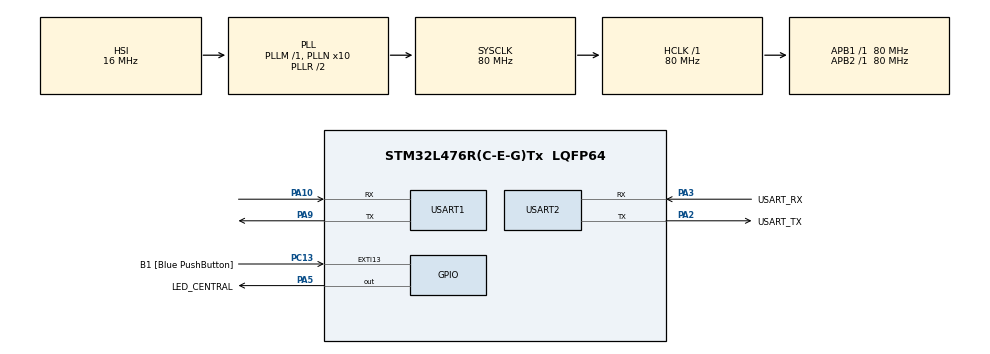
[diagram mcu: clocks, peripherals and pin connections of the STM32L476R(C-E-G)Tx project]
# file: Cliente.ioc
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Dma.Request0=USART2_TX
Dma.Request1=USART1_RX
Dma.USART1_RX.1.Direction=DMA_PERIPH_TO_MEMORY
Dma.USART1_RX.1.Instance=DMA1_Channel5
Dma.USART1_RX.1.MemDataAlignment=DMA_MDATAALIGN_BYTE
Dma.USART1_RX.1.MemInc=DMA_MINC_ENABLE
Dma.USART1_RX.1.Mode=DMA_NORMAL
Dma.USART1_RX.1.PeriphDataAlignment=DMA_PDATAALIGN_BYTE
Dma.USART1_RX.1.PeriphInc=DMA_PINC_DISABLE
Dma.USART1_RX.1.Priority=DMA_PRIORITY_LOW
Dma.USART2_TX.0.Direction=DMA_MEMORY_TO_PERIPH
Dma.USART2_TX.0.Instance=DMA1_Channel7
Dma.USART2_TX.0.MemDataAlignment=DMA_MDATAALIGN_BYTE
Dma.USART2_TX.0.MemInc=DMA_MINC_ENABLE
Dma.USART2_TX.0.Mode=DMA_NORMAL
Dma.USART2_TX.0.PeriphDataAlignment=DMA_PDATAALIGN_BYTE
Dma.USART2_TX.0.PeriphInc=DMA_PINC_DISABLE
Dma.USART2_TX.0.Priority=DMA_PRIORITY_LOW
Mcu.Family=STM32L4
Mcu.Name=STM32L476R(C-E-G)Tx
Mcu.Package=LQFP64
NVIC.DMA1_Channel5_IRQn=true\:0\:0\:false\:false\:true\:false\:true\:true
NVIC.DMA1_Channel7_IRQn=true\:0\:0\:false\:false\:true\:false\:true\:true
NVIC.EXTI15_10_IRQn=true\:0\:0\:false\:false\:true\:true\:true\:true
NVIC.PriorityGroup=NVIC_PRIORITYGROUP_4
NVIC.USART1_IRQn=true\:0\:0\:false\:false\:true\:true\:true\:true
NVIC.USART2_IRQn=true\:0\:0\:false\:false\:true\:true\:true\:true
PA10.Mode=Asynchronous
PA10.Signal=USART1_RX
PA13\ (JTMS-SWDIO).GPIO_Label=TMS
PA13\ (JTMS-SWDIO).Signal=SYS_JTMS-SWDIO
PA14\ (JTCK-SWCLK).GPIO_Label=TCK
PA14\ (JTCK-SWCLK).Signal=SYS_JTCK-SWCLK
PA2.GPIO_Label=USART_TX
PA2.GPIO_Mode=GPIO_MODE_AF_PP
PA2.GPIO_PuPd=GPIO_NOPULL
PA2.GPIO_Speed=GPIO_SPEED_FREQ_VERY_HIGH
PA2.Mode=Asynchronous
PA2.Signal=USART2_TX
PA3.GPIO_Label=USART_RX
PA3.GPIO_Mode=GPIO_MODE_AF_PP
PA3.GPIO_PuPd=GPIO_NOPULL
PA3.GPIO_Speed=GPIO_SPEED_FREQ_VERY_HIGH
PA3.Mode=Asynchronous
PA3.Signal=USART2_RX
PA5.GPIO_Label=LED_CENTRAL
PA5.Signal=GPIO_Output
PA9.Mode=Asynchronous
PA9.Signal=USART1_TX
PB3\ (JTDO-TRACESWO).GPIO_Label=SWO
PB3\ (JTDO-TRACESWO).Signal=SYS_JTDO-SWO
PC13.GPIO_Label=B1 [Blue PushButton]
PC13.GPIO_ModeDefaultEXTI=GPIO_MODE_IT_FALLING
PC13.GPIO_PuPd=GPIO_PULLUP
PC13.Signal=GPXTI13
PC14-OSC32_IN\ (PC14).Signal=RCC_OSC32_IN
PC15-OSC32_OUT\ (PC15).Signal=RCC_OSC32_OUT
PH0-OSC_IN\ (PH0).Signal=RCC_OSC_IN
PH1-OSC_OUT\ (PH1).Signal=RCC_OSC_OUT
ProjectManager.HeapSize=0x200
ProjectManager.StackSize=0x400
ProjectManager.TargetToolchain=STM32CubeIDE
RCC.ADCFreq_Value=64000000
RCC.AHBFreq_Value=80000000
RCC.APB1Freq_Value=80000000
RCC.APB1TimFreq_Value=80000000
RCC.APB2Freq_Value=80000000
RCC.APB2TimFreq_Value=80000000
RCC.CortexFreq_Value=80000000
RCC.HCLKFreq_Value=80000000
RCC.HSE_VALUE=8000000
RCC.HSI_VALUE=16000000
RCC.LSE_VALUE=32768
RCC.MSI_VALUE=4000000
RCC.PLLN=10
RCC.PLLSourceVirtual=RCC_PLLSOURCE_HSI
RCC.PREFETCH_ENABLE=1
RCC.SYSCLKFreq_VALUE=80000000
RCC.SYSCLKSource=RCC_SYSCLKSOURCE_PLLCLK
RCC.USBFreq_Value=64000000
RCC.VCOOutputFreq_Value=160000000
USART1.VirtualMode-Asynchronous=VM_ASYNC
USART2.VirtualMode-Asynchronous=VM_ASYNC
board=NUCLEO-L476RG

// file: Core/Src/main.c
/* USER CODE BEGIN Header */
/**
  ******************************************************************************
  * @file           : main.c
  * @brief          : Main program body
  ******************************************************************************
  * @attention
  *
  * Copyright (c) 2026 STMicroelectronics.
  * All rights reserved.
  *
  * This software is licensed under terms that can be found in the LICENSE file
  * in the root directory of this software component.
  * If no LICENSE file comes with this software, it is provided AS-IS.
  *
  ******************************************************************************
  */
/* USER CODE END Header */
#include "main.h"

/* USER CODE BEGIN Includes */
#include <stdio.h>
#include <string.h>
/* USER CODE END Includes */

/* USER CODE BEGIN PTD */
typedef enum {
  CLIENTE_IDLE,              // esperando o clique do operador
  CLIENTE_AGUARDA_CONTADOR,  // comando enviado, esperando 1 byte (contador)
  CLIENTE_AGUARDA_TABELA,    // contador recebido, esperando 100 bytes (tabela) por DMA
  CLIENTE_PISCANDO,          // LED piscando a 1 Hz, uma vez por basculada
  CLIENTE_ENVIA_RELATORIO,   // mandar o relatorio ao PC
  CLIENTE_ENVIA_TABELA       // relatorio enviado, falta mandar a tabela ao PC
} EstadoCliente;
/* USER CODE END PTD */

/* USER CODE BEGIN PD */
#define CMD_COLETA                 0x5A   // comando combinado com a estacao de campo
#define TABELA_TAM                 100    // tamanho fixo da tabela (igual no servidor)
#define CHUVA_POR_BASCULADA_CENT   25     // 0,25 mm = 25 centesimos de mm
#define LIMITE_CHUVA_CENT          200    // 2,00 mm: a partir daqui suspende a irrigacao
#define MEIO_PERIODO_MS            500    // 1 Hz = 500 ms ligado + 500 ms desligado
#define TIMEOUT_COLETA_MS          2000   // se a estacao nao responder em 2 s, desiste
/* USER CODE END PD */

UART_HandleTypeDef huart1;
UART_HandleTypeDef huart2;
DMA_HandleTypeDef hdma_usart1_rx;
DMA_HandleTypeDef hdma_usart2_tx;

/* USER CODE BEGIN PV */
volatile EstadoCliente estado_cliente = CLIENTE_IDLE;

uint8_t  comando_tx = CMD_COLETA;
volatile uint8_t contador_recebido = 0;        // basculadas enviadas pela estacao
uint8_t  tabela_recebida[TABELA_TAM];          // tabela de talhoes recebida por DMA

volatile uint8_t liberado_para_coletar = 1;    // 0 enquanto uma coleta esta em andamento
volatile uint32_t tempo_inicio_coleta = 0;

uint16_t piscadas_feitas = 0;
uint32_t tempo_ultimo_toggle = 0;
uint8_t  led_ligado = 0;

char msg_relatorio[96];
/* USER CODE END PV */

void SystemClock_Config(void);
static void MX_GPIO_Init(void);
static void MX_DMA_Init(void);
static void MX_USART2_UART_Init(void);
static void MX_USART1_UART_Init(void);

/* USER CODE BEGIN 0 */
/* Interrupcao externa: o operador pediu uma coleta (botao B1) */
void HAL_GPIO_EXTI_Callback(uint16_t GPIO_Pin)
{
  if (GPIO_Pin == GPIO_PIN_13 && liberado_para_coletar)
  {
    liberado_para_coletar = 0;                       // bloqueia novos cliques
    tempo_inicio_coleta = HAL_GetTick();
    estado_cliente = CLIENTE_AGUARDA_CONTADOR;
    HAL_UART_Receive_IT(&huart1, (uint8_t *)&contador_recebido, 1);  // prepara para ouvir a resposta
    HAL_UART_Transmit_IT(&huart1, &comando_tx, 1);                   // envia 0x5A para a estacao
  }
}

/* Terminou uma RECEPCAO na USART1 (por interrupcao ou por DMA) */
void HAL_UART_RxCpltCallback(UART_HandleTypeDef *huart)
{
  if (huart->Instance == USART1)
  {
    if (estado_cliente == CLIENTE_AGUARDA_CONTADOR)
    {
      // chegou o byte do contador; agora espera os 100 bytes da tabela por DMA
      estado_cliente = CLIENTE_AGUARDA_TABELA;
      HAL_UART_Receive_DMA(&huart1, tabela_recebida, TABELA_TAM);
    }
    else if (estado_cliente == CLIENTE_AGUARDA_TABELA)
    {
      // tabela completa: comeca a piscar o LED
      piscadas_feitas = 0;
      led_ligado = 0;
      tempo_ultimo_toggle = HAL_GetTick();
      estado_cliente = CLIENTE_PISCANDO;
    }
  }
}

/* Terminou uma TRANSMISSAO na USART2 (para o PC) */
void HAL_UART_TxCpltCallback(UART_HandleTypeDef *huart)
{
  if (huart->Instance == USART2 && estado_cliente == CLIENTE_ENVIA_TABELA)
  {
    // o relatorio ja saiu; agora envia a tabela por DMA
    HAL_UART_Transmit_DMA(&huart2, tabela_recebida, TABELA_TAM);
    estado_cliente = CLIENTE_IDLE;
    liberado_para_coletar = 1;                       // libera para a proxima coleta
  }
}
/* USER CODE END 0 */

int main(void)
{

  /* MCU Configuration--------------------------------------------------------*/

  /* Reset of all peripherals, Initializes the Flash interface and the Systick. */
  HAL_Init();

  /* Configure the system clock */
  SystemClock_Config();

  /* Initialize all configured peripherals */
  MX_GPIO_Init();
  MX_DMA_Init();
  MX_USART2_UART_Init();
  MX_USART1_UART_Init();
  /* USER CODE BEGIN 2 */
  /* Mensagem inicial por POLLING: HAL_UART_Transmit espera terminar */
  const char banner[] =
    "\r\n=== Central de Irrigacao (NUCLEO-L476RG) ===\r\n"
    "Aperte o botao azul para coletar a chuva da estacao de campo.\r\n";
  HAL_UART_Transmit(&huart2, (uint8_t *)banner, sizeof(banner) - 1, 200);
  /* USER CODE END 2 */

  /* Infinite loop */
  while (1)
  {

    /* USER CODE BEGIN 3 */
	  /* ---- 1) LED piscando a 1 Hz, uma piscada por basculada (sem HAL_Delay) ---- */
	  if (estado_cliente == CLIENTE_PISCANDO)
	  {
	    if (contador_recebido == 0)
	    {
	      estado_cliente = CLIENTE_ENVIA_RELATORIO;        // nao choveu: nada a piscar
	    }
	    else if ((HAL_GetTick() - tempo_ultimo_toggle) >= MEIO_PERIODO_MS)
	    {
	      tempo_ultimo_toggle = HAL_GetTick();
	      HAL_GPIO_TogglePin(GPIOA, GPIO_PIN_5);
	      led_ligado = !led_ligado;

	      if (led_ligado == 0)                             // completou um ciclo: ligou e desligou
	      {
	        piscadas_feitas++;
	        if (piscadas_feitas >= contador_recebido)
	        {
	          HAL_GPIO_WritePin(GPIOA, GPIO_PIN_5, GPIO_PIN_RESET);
	          estado_cliente = CLIENTE_ENVIA_RELATORIO;
	        }
	      }
	    }
	  }

	  /* ---- 2) Relatorio ao PC (USART2, por interrupcao) ---- */
	  else if (estado_cliente == CLIENTE_ENVIA_RELATORIO)
	  {
	    uint32_t chuva_cent = (uint32_t)contador_recebido * CHUVA_POR_BASCULADA_CENT;
	    snprintf(msg_relatorio, sizeof(msg_relatorio),
	             "Basculadas = %03u | Chuva = %lu.%02lu mm | Irrigacao: %s\r\n",
	             (unsigned)contador_recebido,
	             (unsigned long)(chuva_cent / 100), (unsigned long)(chuva_cent % 100),
	             (chuva_cent >= LIMITE_CHUVA_CENT) ? "SUSPENSA" : "LIBERADA");
	    estado_cliente = CLIENTE_ENVIA_TABELA;             // a tabela sai no TxCpltCallback
	    HAL_UART_Transmit_IT(&huart2, (uint8_t *)msg_relatorio, strlen(msg_relatorio));
	  }

	  /* ---- 3) Timeout: a estacao nao respondeu (fio solto, placa desligada...) ---- */
	  else if ((estado_cliente == CLIENTE_AGUARDA_CONTADOR || estado_cliente == CLIENTE_AGUARDA_TABELA)
	           && (HAL_GetTick() - tempo_inicio_coleta) > TIMEOUT_COLETA_MS)
	  {
	    HAL_UART_AbortReceive(&huart1);
	    estado_cliente = CLIENTE_IDLE;
	    liberado_para_coletar = 1;
	    static const char erro[] = "ERRO: estacao de campo nao respondeu. Confira TX/RX/GND.\r\n";
	    HAL_UART_Transmit_IT(&huart2, (uint8_t *)erro, sizeof(erro) - 1);
	  }
  }
  /* USER CODE END 3 */
}

void SystemClock_Config(void)
{
  RCC_OscInitTypeDef RCC_OscInitStruct = {0};
  RCC_ClkInitTypeDef RCC_ClkInitStruct = {0};

  /** Configure the main internal regulator output voltage
  */
  if (HAL_PWREx_ControlVoltageScaling(PWR_REGULATOR_VOLTAGE_SCALE1) != HAL_OK)
  {
    Error_Handler();
  }

  /** Initializes the RCC Oscillators according to the specified parameters
  * in the RCC_OscInitTypeDef structure.
  */
  RCC_OscInitStruct.OscillatorType = RCC_OSCILLATORTYPE_HSI;
  RCC_OscInitStruct.HSIState = RCC_HSI_ON;
  RCC_OscInitStruct.HSICalibrationValue = RCC_HSICALIBRATION_DEFAULT;
  RCC_OscInitStruct.PLL.PLLState = RCC_PLL_ON;
  RCC_OscInitStruct.PLL.PLLSource = RCC_PLLSOURCE_HSI;
  RCC_OscInitStruct.PLL.PLLM = 1;
  RCC_OscInitStruct.PLL.PLLN = 10;
  RCC_OscInitStruct.PLL.PLLP = RCC_PLLP_DIV7;
  RCC_OscInitStruct.PLL.PLLQ = RCC_PLLQ_DIV2;
  RCC_OscInitStruct.PLL.PLLR = RCC_PLLR_DIV2;
  if (HAL_RCC_OscConfig(&RCC_OscInitStruct) != HAL_OK)
  {
    Error_Handler();
  }

  /** Initializes the CPU, AHB and APB buses clocks
  */
  RCC_ClkInitStruct.ClockType = RCC_CLOCKTYPE_HCLK|RCC_CLOCKTYPE_SYSCLK
                              |RCC_CLOCKTYPE_PCLK1|RCC_CLOCKTYPE_PCLK2;
  RCC_ClkInitStruct.SYSCLKSource = RCC_SYSCLKSOURCE_PLLCLK;
  RCC_ClkInitStruct.AHBCLKDivider = RCC_SYSCLK_DIV1;
  RCC_ClkInitStruct.APB1CLKDivider = RCC_HCLK_DIV1;
  RCC_ClkInitStruct.APB2CLKDivider = RCC_HCLK_DIV1;

  if (HAL_RCC_ClockConfig(&RCC_ClkInitStruct, FLASH_LATENCY_4) != HAL_OK)
  {
    Error_Handler();
  }
}

static void MX_USART1_UART_Init(void)
{

  huart1.Instance = USART1;
  huart1.Init.BaudRate = 115200;
  huart1.Init.WordLength = UART_WORDLENGTH_8B;
  huart1.Init.StopBits = UART_STOPBITS_1;
  huart1.Init.Parity = UART_PARITY_NONE;
  huart1.Init.Mode = UART_MODE_TX_RX;
  huart1.Init.HwFlowCtl = UART_HWCONTROL_NONE;
  huart1.Init.OverSampling = UART_OVERSAMPLING_16;
  huart1.Init.OneBitSampling = UART_ONE_BIT_SAMPLE_DISABLE;
  huart1.AdvancedInit.AdvFeatureInit = UART_ADVFEATURE_NO_INIT;
  if (HAL_UART_Init(&huart1) != HAL_OK)
  {
    Error_Handler();
  }

}

static void MX_USART2_UART_Init(void)
{

  huart2.Instance = USART2;
  huart2.Init.BaudRate = 115200;
  huart2.Init.WordLength = UART_WORDLENGTH_8B;
  huart2.Init.StopBits = UART_STOPBITS_1;
  huart2.Init.Parity = UART_PARITY_NONE;
  huart2.Init.Mode = UART_MODE_TX_RX;
  huart2.Init.HwFlowCtl = UART_HWCONTROL_NONE;
  huart2.Init.OverSampling = UART_OVERSAMPLING_16;
  huart2.Init.OneBitSampling = UART_ONE_BIT_SAMPLE_DISABLE;
  huart2.AdvancedInit.AdvFeatureInit = UART_ADVFEATURE_NO_INIT;
  if (HAL_UART_Init(&huart2) != HAL_OK)
  {
    Error_Handler();
  }

}

static void MX_DMA_Init(void)
{

  /* DMA controller clock enable */
  __HAL_RCC_DMA1_CLK_ENABLE();

  /* DMA interrupt init */
  /* DMA1_Channel5_IRQn interrupt configuration */
  HAL_NVIC_SetPriority(DMA1_Channel5_IRQn, 0, 0);
  HAL_NVIC_EnableIRQ(DMA1_Channel5_IRQn);
  /* DMA1_Channel7_IRQn interrupt configuration */
  HAL_NVIC_SetPriority(DMA1_Channel7_IRQn, 0, 0);
  HAL_NVIC_EnableIRQ(DMA1_Channel7_IRQn);

}

static void MX_GPIO_Init(void)
{
  GPIO_InitTypeDef GPIO_InitStruct = {0};

  /* GPIO Ports Clock Enable */
  __HAL_RCC_GPIOC_CLK_ENABLE();
  __HAL_RCC_GPIOH_CLK_ENABLE();
  __HAL_RCC_GPIOA_CLK_ENABLE();
  __HAL_RCC_GPIOB_CLK_ENABLE();

  /*Configure GPIO pin Output Level */
  HAL_GPIO_WritePin(LED_CENTRAL_GPIO_Port, LED_CENTRAL_Pin, GPIO_PIN_RESET);

  /*Configure GPIO pin : B1_Pin */
  GPIO_InitStruct.Pin = B1_Pin;
  GPIO_InitStruct.Mode = GPIO_MODE_IT_FALLING;
  GPIO_InitStruct.Pull = GPIO_PULLUP;
  HAL_GPIO_Init(B1_GPIO_Port, &GPIO_InitStruct);

  /*Configure GPIO pin : LED_CENTRAL_Pin */
  GPIO_InitStruct.Pin = LED_CENTRAL_Pin;
  GPIO_InitStruct.Mode = GPIO_MODE_OUTPUT_PP;
  GPIO_InitStruct.Pull = GPIO_NOPULL;
  GPIO_InitStruct.Speed = GPIO_SPEED_FREQ_LOW;
  HAL_GPIO_Init(LED_CENTRAL_GPIO_Port, &GPIO_InitStruct);

  /* EXTI interrupt init*/
  HAL_NVIC_SetPriority(EXTI15_10_IRQn, 0, 0);
  HAL_NVIC_EnableIRQ(EXTI15_10_IRQn);

}

void Error_Handler(void)
{
  __disable_irq();
  while (1)
  {
  }
}
